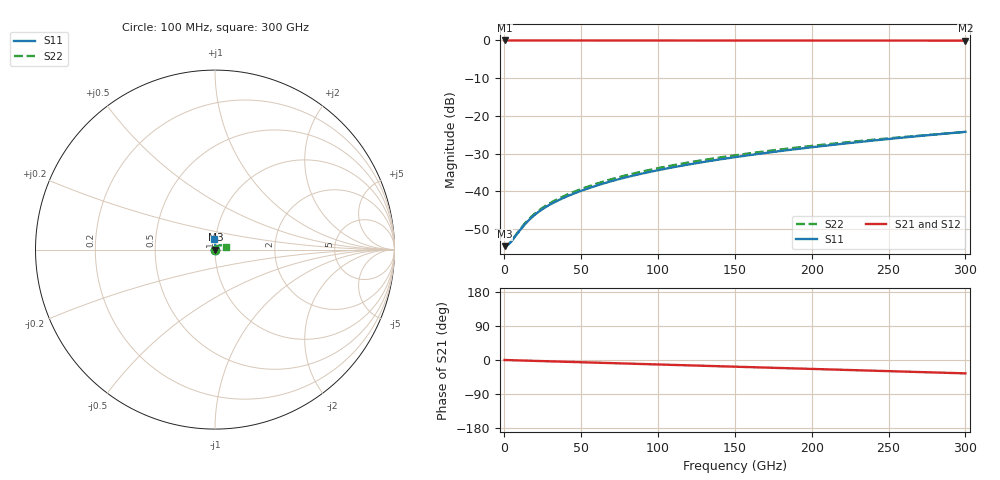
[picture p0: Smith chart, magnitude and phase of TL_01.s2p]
#  Hz  S  RI  R  50
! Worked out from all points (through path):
!   3000 points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, 100 MHz to 300 GHz, reference 50 ohm
!   highest |S21| = -0.02 dB at 100 MHz (marker M1); lowest = -0.1 dB at 300 GHz (marker M2)
!   group delay of S21, straight-line fit = 326 fs
!   lowest |S11| = -54.5 dB at 100 MHz (marker M3), VSWR 1.00, Z = 50.2 + j0.00232 ohm
!   |S11| at or under -10 dB: start of sweep to end of sweep
!   |S22| runs from -54.5 to -24.3 dB; largest |S21 - S12| = 0.00051
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1e8  0.00187 2.32e-05  0.9981 -0.000211  0.9981 -0.000211  0.00188 2.32e-05
1.7e9  0.00188 0.000393  0.9981 -0.00358  0.9981 -0.00358  0.00189 0.000394
3.4e9  0.00189 0.000786  0.9981 -0.00716  0.9981 -0.00716  0.00191 0.000787
5.4e9  0.00192 0.00124  0.998 -0.0114  0.998 -0.0114  0.00195 0.00125
1.08e10  0.00203 0.00245  0.9977 -0.0227  0.9977 -0.0227  0.00215 0.00245
1.4e10  0.00212 0.00314  0.9974 -0.0293  0.9974 -0.0293  0.00231 0.00313
1.82e10  0.00224 0.004  0.9969 -0.038  0.9969 -0.038  0.00257 0.00398
2.27e10  0.00238 0.00488  0.9964 -0.0472  0.9964 -0.0472  0.00288 0.00484
2.81e10  0.00252 0.00588  0.9956 -0.0583  0.9956 -0.0583  0.00327 0.00582
3.43e10  0.00264 0.00699  0.9947 -0.0709  0.9947 -0.0709  0.00373 0.00688
4.16e10  0.00271 0.00828  0.9934 -0.0857  0.9934 -0.0857  0.00429 0.0081
5.01e10  0.00273 0.0098  0.9917 -0.103  0.9917 -0.103  0.005 0.00951
6.11e10  0.00271 0.0118  0.989 -0.1253  0.989 -0.1253  0.00607 0.0113
7.29e10  0.00268 0.014  0.9854 -0.1492  0.9854 -0.1492  0.00742 0.0131
8.57e10  0.00261 0.0163  0.981 -0.1749  0.981 -0.1749  0.0091 0.015
1.001e11  0.00245 0.0189  0.9752 -0.2037  0.9752 -0.2037  0.0112 0.0169
1.237e11  0.00206 0.0233  0.9639 -0.2505  0.9639 -0.2506  0.0152 0.0196
1.501e11  0.00147 0.0283  0.9486 -0.3021  0.9486 -0.3022  0.0204 0.022
1.742e11  0.000792 0.0331  0.9323 -0.3485  0.9322 -0.3485  0.0257 0.0233
2.001e11  -1.47e-05 0.0384  0.9121 -0.3973  0.912 -0.3974  0.032 0.0239
2.501e11  -0.00174 0.0494  0.8659 -0.4883  0.8657 -0.4884  0.0452 0.0221
3e11  -0.00342 0.0613  0.8106 -0.5737  0.8101 -0.574  0.059 0.0161
